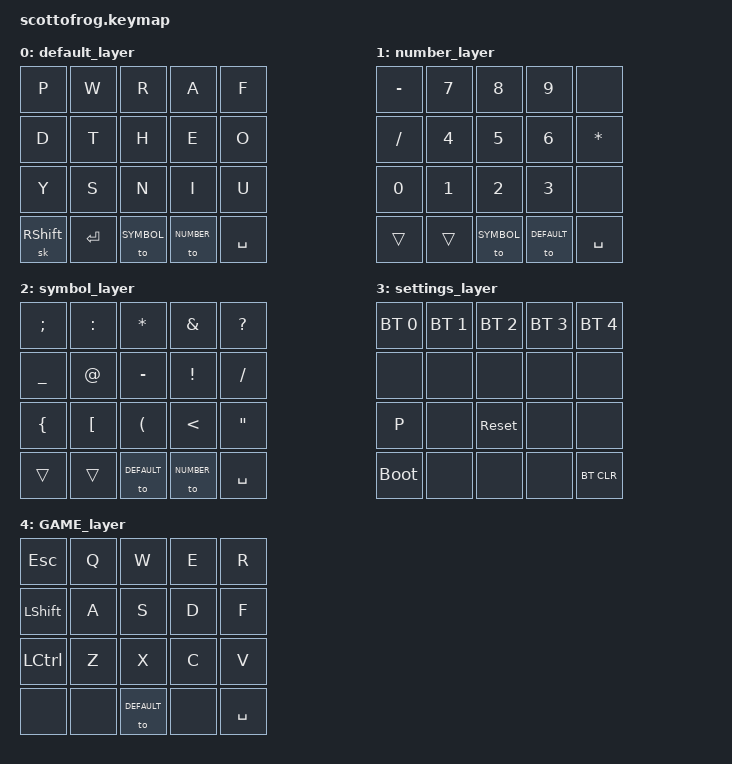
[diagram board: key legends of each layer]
#include <behaviors.dtsi>
#include <dt-bindings/zmk/keys.h>
#include <dt-bindings/zmk/bt.h>

#define DEFAULT 0
#define NUMBER 1
#define SYMBOL 2
#define SETTINGS 3
#define GAME 4

#define COMBO_TIMEOUT 50

/ {
    combos {
        compatible = "zmk,combos";

        // Meta combos
        meta_settings_combo {
            timeout-ms = <50>;
            key-positions = <16 17 18>;
            bindings = <&mo SETTINGS>;
        };

        meta_GAME_combo {
            timeout-ms = <50>;
            key-positions = <15 17 19>;
            bindings = <&to GAME>;
        };

        // Letter combos
        letters_tab_combo {
            timeout-ms = <COMBO_TIMEOUT>;
            key-positions = <19 4>;
            bindings = <&kp TAB>;
            layers = <DEFAULT>;
        };

        letters_single_quote_combo {
            timeout-ms = <COMBO_TIMEOUT>;
            key-positions = <19 3>;
            bindings = <&kp SINGLE_QUOTE>;
            layers = <DEFAULT>;
        };

        letters_b_combo {
            timeout-ms = <COMBO_TIMEOUT>;
            key-positions = <19 2>;
            bindings = <&kp B>;
            layers = <DEFAULT>;
        };

        letters_m_combo {
            timeout-ms = <COMBO_TIMEOUT>;
            key-positions = <19 1>;
            bindings = <&kp M>;
            layers = <DEFAULT>;
        };

        letters_j_combo {
            timeout-ms = <COMBO_TIMEOUT>;
            key-positions = <19 0>;
            bindings = <&kp J>;
            layers = <DEFAULT>;
        };

        letters_q_combo {
            timeout-ms = <COMBO_TIMEOUT>;
            key-positions = <19 9>;
            bindings = <&kp Q>;
            layers = <DEFAULT>;
        };

        letters_z_combo {
            timeout-ms = <COMBO_TIMEOUT>;
            key-positions = <19 8>;
            bindings = <&kp Z>;
            layers = <DEFAULT>;
        };

        letters_l_combo {
            timeout-ms = <COMBO_TIMEOUT>;
            key-positions = <19 7>;
            bindings = <&kp L>;
            layers = <DEFAULT>;
        };

        letters_c_combo {
            timeout-ms = <COMBO_TIMEOUT>;
            key-positions = <19 6>;
            bindings = <&kp C>;
            layers = <DEFAULT>;
        };

        letters_v_combo {
            timeout-ms = <COMBO_TIMEOUT>;
            key-positions = <19 5>;
            bindings = <&kp V>;
            layers = <DEFAULT>;
        };

        letters_windows_combo {
            timeout-ms = <COMBO_TIMEOUT>;
            key-positions = <19 14>;
            bindings = <&sk LGUI>;
            layers = <DEFAULT>;
        };

        letters_app_combo {
            timeout-ms = <COMBO_TIMEOUT>;
            key-positions = <19 13>;
            bindings = <&kp K_APP>;
            layers = <DEFAULT>;
        };

        letters_k_combo {
            timeout-ms = <COMBO_TIMEOUT>;
            key-positions = <19 12>;
            bindings = <&kp K>;
            layers = <DEFAULT>;
        };

        letters_g_combo {
            timeout-ms = <COMBO_TIMEOUT>;
            key-positions = <19 11>;
            bindings = <&kp G>;
            layers = <DEFAULT>;
        };

        letters_x_combo {
            timeout-ms = <COMBO_TIMEOUT>;
            key-positions = <19 10>;
            bindings = <&kp X>;
            layers = <DEFAULT>;
        };

        letters_comma_combo {
            timeout-ms = <COMBO_TIMEOUT>;
            key-positions = <19 17>;
            bindings = <&kp COMMA>;
        };

        letters_period_combo {
            timeout-ms = <COMBO_TIMEOUT>;
            key-positions = <19 16>;
            bindings = <&kp PERIOD>;
        };

        // Symbol combos
        symbol_plus_combo {
            timeout-ms = <COMBO_TIMEOUT>;
            key-positions = <19 3>;
            bindings = <&kp PLUS>;
            layers = <SYMBOL>;
        };

        symbol_equal_combo {
            timeout-ms = <COMBO_TIMEOUT>;
            key-positions = <19 2>;
            bindings = <&kp EQUAL>;
            layers = <SYMBOL>;
        };

        symbol_dollar_combo {
            timeout-ms = <COMBO_TIMEOUT>;
            key-positions = <19 1>;
            bindings = <&kp DOLLAR>;
            layers = <SYMBOL>;
        };

        symbol_hash_combo {
            timeout-ms = <COMBO_TIMEOUT>;
            key-positions = <19 0>;
            bindings = <&kp HASH>;
            layers = <SYMBOL>;
        };

        symbol_backslash_combo {
            timeout-ms = <COMBO_TIMEOUT>;
            key-positions = <19 9>;
            bindings = <&kp BACKSLASH>;
            layers = <SYMBOL>;
        };

        symbol_percent_combo {
            timeout-ms = <COMBO_TIMEOUT>;
            key-positions = <19 8>;
            bindings = <&kp PERCENT>;
            layers = <SYMBOL>;
        };

        symbol_pipe_combo {
            timeout-ms = <COMBO_TIMEOUT>;
            key-positions = <19 7>;
            bindings = <&kp PIPE>;
            layers = <SYMBOL>;
        };

        symbol_tilde_combo {
            timeout-ms = <COMBO_TIMEOUT>;
            key-positions = <19 6>;
            bindings = <&kp TILDE>;
            layers = <SYMBOL>;
        };

        symbol_caret_combo {
            timeout-ms = <COMBO_TIMEOUT>;
            key-positions = <19 5>;
            bindings = <&kp CARET>;
            layers = <SYMBOL>;
        }; 

        symbol_grave_combo {
            timeout-ms = <COMBO_TIMEOUT>;
            key-positions = <19 14>;
            bindings = <&kp GRAVE>;
            layers = <SYMBOL>;
        };

        symbol_greater_than_combo {
            timeout-ms = <COMBO_TIMEOUT>;
            key-positions = <19 13>;
            bindings = <&kp GREATER_THAN>;
            layers = <SYMBOL>;
        };

        symbol_right_parenthesis_combo {
            timeout-ms = <COMBO_TIMEOUT>;
            key-positions = <19 12>;
            bindings = <&kp RIGHT_PARENTHESIS>;
            layers = <SYMBOL>;
        };

        symbol_right_bracket_combo {
            timeout-ms = <COMBO_TIMEOUT>;
            key-positions = <19 11>;
            bindings = <&kp RIGHT_BRACKET>;
            layers = <SYMBOL>;
        };

        symbol_right_brace_combo {
            timeout-ms = <COMBO_TIMEOUT>;
            key-positions = <19 10>;
            bindings = <&kp RIGHT_BRACE>;
            layers = <SYMBOL>;
        }; 

        // Number combos
        number_f7_combo {
            timeout-ms = <COMBO_TIMEOUT>;
            key-positions = <19 1>;
            bindings = <&kp F7>;
            layers = <NUMBER>;
        };

        number_f8_combo {
            timeout-ms = <COMBO_TIMEOUT>;
            key-positions = <19 2>;
            bindings = <&kp F8>;
            layers = <NUMBER>;
        };

        number_f9_combo {
            timeout-ms = <COMBO_TIMEOUT>;
            key-positions = <19 3>;
            bindings = <&kp F9>;
            layers = <NUMBER>;
        };

        number_minus_combo {
            timeout-ms = <COMBO_TIMEOUT>;
            key-positions = <19 4>;
            bindings = <&kp MINUS>;
            layers = <NUMBER>;
        };

        number_f11_combo {
            timeout-ms = <COMBO_TIMEOUT>;
            key-positions = <19 5>;
            bindings = <&kp F11>;
            layers = <NUMBER>;
        };

        number_f4_combo {
            timeout-ms = <COMBO_TIMEOUT>;
            key-positions = <19 6>;
            bindings = <&kp F4>;
            layers = <NUMBER>;
        };

        number_f5_combo {
            timeout-ms = <COMBO_TIMEOUT>;
            key-positions = <19 7>;
            bindings = <&kp F5>;
            layers = <NUMBER>;
        };

        number_f6_combo {
            timeout-ms = <COMBO_TIMEOUT>;
            key-positions = <19 8>;
            bindings = <&kp F6>;
            layers = <NUMBER>;
        };

        number_f12_combo {
            timeout-ms = <COMBO_TIMEOUT>;
            key-positions = <19 9>;
            bindings = <&kp F12>;
            layers = <NUMBER>;
        };

        number_f1_combo {
            timeout-ms = <COMBO_TIMEOUT>;
            key-positions = <19 11>;
            bindings = <&kp F1>;
            layers = <NUMBER>;
        };

        number_f2_combo {
            timeout-ms = <COMBO_TIMEOUT>;
            key-positions = <19 12>;
            bindings = <&kp F2>;
            layers = <NUMBER>;
        };

        number_f3_combo {
            timeout-ms = <COMBO_TIMEOUT>;
            key-positions = <19 13>;
            bindings = <&kp F3>;
            layers = <NUMBER>;
        };

        number_equal_combo {
            timeout-ms = <COMBO_TIMEOUT>;
            key-positions = <19 14>;
            bindings = <&kp EQUAL>;
            layers = <NUMBER>;
        };

        // Orange combos
        orange_esc_combo {
            timeout-ms = <COMBO_TIMEOUT>;
            key-positions = <18 0>;
            bindings = <&kp ESC>;
            layers = <DEFAULT>;
        };

        orange_home_combo {
            timeout-ms = <COMBO_TIMEOUT>;
            key-positions = <18 1>;
            bindings = <&kp HOME>;
            layers = <DEFAULT>;
        };

        orange_end_combo {
            timeout-ms = <COMBO_TIMEOUT>;
            key-positions = <18 2>;
            bindings = <&kp END>;
            layers = <DEFAULT>;
        };

        orange_pause_break_combo {
            timeout-ms = <COMBO_TIMEOUT>;
            key-positions = <18 3>;
            bindings = <&kp PAUSE_BREAK>;
            layers = <DEFAULT>;
        };

        orange_page_up_combo {
            timeout-ms = <COMBO_TIMEOUT>;
            key-positions = <18 4>;
            bindings = <&kp PAGE_UP>;
            layers = <DEFAULT>;
        };

        orange_insert_combo {
            timeout-ms = <COMBO_TIMEOUT>;
            key-positions = <18 5>;
            bindings = <&kp INSERT>;
            layers = <DEFAULT>;
        };

        orange_lctrl_combo {
            timeout-ms = <COMBO_TIMEOUT>;
            key-positions = <18 6>;
            bindings = <&none>;
            layers = <DEFAULT>;
        };

        orange_lalt_combo {
            timeout-ms = <COMBO_TIMEOUT>;
            key-positions = <18 7>;
            bindings = <&none>;
            layers = <DEFAULT>;
        };

        orange_up_arrow_combo {
            timeout-ms = <COMBO_TIMEOUT>;
            key-positions = <18 8>;
            bindings = <&kp UP_ARROW>;
            layers = <DEFAULT>;
        };

        orange_page_down_combo {
            timeout-ms = <COMBO_TIMEOUT>;
            key-positions = <18 9>;
            bindings = <&kp PAGE_DOWN>;
            layers = <DEFAULT>;
        };

        orange_delete_combo {
            timeout-ms = <COMBO_TIMEOUT>;
            key-positions = <18 10>;
            bindings = <&kp DELETE>;
            layers = <DEFAULT>;
        };

        orange_backspace_combo {
            timeout-ms = <COMBO_TIMEOUT>;
            key-positions = <18 14>;
            bindings = <&kp BACKSPACE>;
            layers = <DEFAULT>;
        };

        orange_left_arrow_combo {
            timeout-ms = <COMBO_TIMEOUT>;
            key-positions = <18 12>;
            bindings = <&kp LEFT_ARROW>;
            layers = <DEFAULT>;
        };

        orange_down_arrow_combo {
            timeout-ms = <COMBO_TIMEOUT>;
            key-positions = <18 13>;
            bindings = <&kp DOWN_ARROW>;
            layers = <DEFAULT>;
        };

        orange_right_arrow_combo {
            timeout-ms = <COMBO_TIMEOUT>;
            key-positions = <18 11>;
            bindings = <&kp RIGHT_ARROW>;
            layers = <DEFAULT>;
        };

        orange_caps_lock_combo {
            timeout-ms = <COMBO_TIMEOUT>;
            key-positions = <18 19>;
            bindings = <&none>;
            layers = <DEFAULT>;
        };

        // Special combos
        special_scroll_lock_combo {
            timeout-ms = <COMBO_TIMEOUT>;
            key-positions = <18 1>;
            bindings = <&kp SCROLLLOCK>;
            layers = <SYMBOL>;
        };

        special_print_screen_combo {
            timeout-ms = <COMBO_TIMEOUT>;
            key-positions = <18 2>;
            bindings = <&kp PRINTSCREEN>;
            layers = <SYMBOL>;
        };

        special_num_lock_combo {
            timeout-ms = <COMBO_TIMEOUT>;
            key-positions = <18 4>;
            bindings = <&kt LOCKING_NUM>;
            layers = <SYMBOL>;
        }; 

        special_left_arrow_combo {
            timeout-ms = <COMBO_TIMEOUT>;
            key-positions = <18 5>;
            bindings = <&kp LEFT_ARROW>;
            layers = <SYMBOL>;
        }; 

        special_left_control_combo {
            timeout-ms = <COMBO_TIMEOUT>;
            key-positions = <18 6>;
            bindings = <&kt LCTRL>;
            layers = <SYMBOL>;
        };  

        special_left_alt_combo {
            timeout-ms = <COMBO_TIMEOUT>;
            key-positions = <18 7>;
            bindings = <&kt LALT>;
            layers = <SYMBOL>;
        }; 

        special_right_arrow_combo {
            timeout-ms = <COMBO_TIMEOUT>;
            key-positions = <18 9>;
            bindings = <&kp RIGHT_ARROW>;
            layers = <SYMBOL>;
        };  

        special_windows_combo {
            timeout-ms = <COMBO_TIMEOUT>;
            key-positions = <18 10>;
            bindings = <&kt LGUI>;
            layers = <SYMBOL>;
        };  

        special_application_combo {
            timeout-ms = <COMBO_TIMEOUT>;
            key-positions = <18 11>;
            bindings = <&kt K_APP>;
            layers = <SYMBOL>;
        };       

        special_shift_lock_combo {
            timeout-ms = <COMBO_TIMEOUT>;
            key-positions = <18 19>;
            bindings = <&none>;
            layers = <DEFAULT>;
        };  

        //Game Combos
        Number1 {
            timeout-ms = <COMBO_TIMEOUT>;
            key-positions = <18 11>;
            bindings = <&kp N1>;
            layers = <GAME>;
        };  

        Number2 {
            timeout-ms = <COMBO_TIMEOUT>;
            key-positions = <18 12>;
            bindings = <&kp N2>;
            layers = <GAME>;
        };  

        Number3 {
            timeout-ms = <COMBO_TIMEOUT>;
            key-positions = <18 13>;
            bindings = <&kp N3>;
            layers = <GAME>;
        };  

        Number4 {
            timeout-ms = <COMBO_TIMEOUT>;
            key-positions = <18 6>;
            bindings = <&kp N4>;
            layers = <GAME>;
        };  

        Number5 {
            timeout-ms = <COMBO_TIMEOUT>;
            key-positions = <18 7>;
            bindings = <&kp N5>;
            layers = <GAME>;
        };  

        Number6 {
            timeout-ms = <COMBO_TIMEOUT>;
            key-positions = <18 8>;
            bindings = <&kp N6>;
            layers = <GAME>;
        };  

        Number7 {
            timeout-ms = <COMBO_TIMEOUT>;
            key-positions = <18 1>;
            bindings = <&kp N7>;
            layers = <GAME>;
        };  

        Number8 {
            timeout-ms = <COMBO_TIMEOUT>;
            key-positions = <18 2>;
            bindings = <&kp N8>;
            layers = <GAME>;
        };  

        Number9 {
            timeout-ms = <COMBO_TIMEOUT>;
            key-positions = <18 3>;
            bindings = <&kp N9>;
            layers = <GAME>;
        };  

        TAB {
            timeout-ms = <COMBO_TIMEOUT>;
            key-positions = <18 5>;
            bindings = <&kp TAB>;
            layers = <GAME>;
        };  

        M {
            timeout-ms = <COMBO_TIMEOUT>;
            key-positions = <18 0>;
            bindings = <&kp M>;
            layers = <GAME>;
        };          

        T {
            timeout-ms = <COMBO_TIMEOUT>;
            key-positions = <18 4>;
            bindings = <&kp T>;
            layers = <GAME>;
        };          

        G {
            timeout-ms = <COMBO_TIMEOUT>;
            key-positions = <18 9>;
            bindings = <&kp G>;
            layers = <GAME>;
        };          

        B {
            timeout-ms = <COMBO_TIMEOUT>;
            key-positions = <18 14>;
            bindings = <&kp B>;
            layers = <GAME>;
        };          
    };
 
    keymap {
        compatible = "zmk,keymap";

        default_layer {
            bindings = <
                          &kp P       &kp W &kp R       &kp A &kp F 
                          &kp D       &kp T &kp H       &kp E &kp O 
                          &kp Y       &kp S &kp N       &kp I &kp U 
                &sk RSHIFT &kp ENTER        &to SYMBOL        &to NUMBER &kp SPACE
            >;
        };

        number_layer {
            bindings = <
                            &kp MINUS   &kp N7 &kp N8     &kp N9 &none
                            &kp SLASH   &kp N4 &kp N5     &kp N6 &kp ASTERISK
                            &kp N0      &kp N1 &kp N2     &kp N3 &none
                &trans      &trans             &to SYMBOL        &to DEFAULT       &kp SPACE
            >;
        }; 

        symbol_layer {
            bindings = <
                          &kp SEMICOLON     &kp COLON        &kp ASTERISK         &kp AMPERSAND    &kp QUESTION
                          &kp UNDERSCORE    &kp AT           &kp MINUS            &kp EXCLAMATION  &kp SLASH
                          &kp LEFT_BRACE    &kp LEFT_BRACKET &kp LEFT_PARENTHESIS &kp LESS_THAN    &kp DOUBLE_QUOTES 
                &trans    &trans                             &to DEFAULT                           &to NUMBER         &kp SPACE
            >;
        }; 
        
        settings_layer {
            bindings = <
                            &bt BT_SEL 0 &bt BT_SEL 1 &bt BT_SEL 2 &bt BT_SEL 3 &bt BT_SEL 4
                            &none        &none        &none        &none        &none 
                            &kp P        &none        &sys_reset   &none        &none 
                &bootloader &none                     &none                     &none        &bt BT_CLR
            >;
        };

        GAME_layer {
            bindings = <
                      &kp ESC    &kp Q  &kp W         &kp E       &kp R 
                      &kp LSHIFT &kp A  &kp S         &kp D       &kp F 
                      &kp LCTRL  &kp Z  &kp X         &kp C       &kp V 
                &none &none             &to DEFAULT               &none  &kp SPACE
            >;
        };
    };
};
